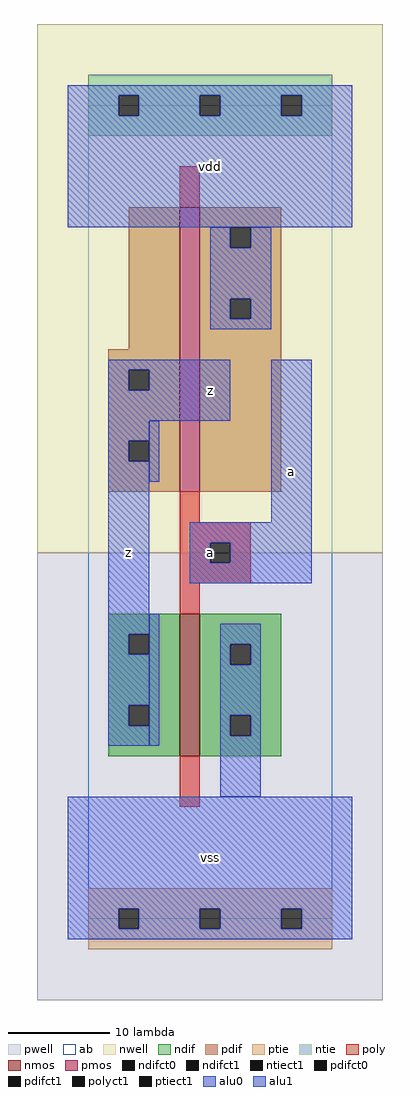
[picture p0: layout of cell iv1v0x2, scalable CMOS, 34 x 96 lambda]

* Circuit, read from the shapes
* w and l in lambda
.subckt iv1v0x2 a vdd vss z
M1 vss a z vss nfet w=14 l=2
M2 vdd a z vdd pfet w=28 l=2
.ends

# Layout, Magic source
magic
tech scmos
<< ab >>
rect 0 0 24 80
<< nwell >>
rect -5 36 29 88
<< pwell >>
rect -5 -8 29 36
<< poly >>
rect 9 70 11 74
rect 9 39 11 42
rect 9 37 16 39
rect 9 35 12 37
rect 14 35 16 37
rect 9 33 16 35
rect 9 30 11 33
rect 9 11 11 16
<< ndif >>
rect 2 28 9 30
rect 2 26 4 28
rect 6 26 9 28
rect 2 21 9 26
rect 2 19 4 21
rect 6 19 9 21
rect 2 16 9 19
rect 11 27 19 30
rect 11 25 14 27
rect 16 25 19 27
rect 11 20 19 25
rect 11 18 14 20
rect 16 18 19 20
rect 11 16 19 18
<< pdif >>
rect 4 56 9 70
rect 2 54 9 56
rect 2 52 4 54
rect 6 52 9 54
rect 2 47 9 52
rect 2 45 4 47
rect 6 45 9 47
rect 2 42 9 45
rect 11 68 19 70
rect 11 66 14 68
rect 16 66 19 68
rect 11 61 19 66
rect 11 59 14 61
rect 16 59 19 61
rect 11 42 19 59
<< alu1 >>
rect -2 81 26 82
rect -2 79 3 81
rect 5 79 11 81
rect 13 79 19 81
rect 21 79 26 81
rect -2 68 26 79
rect 2 54 14 55
rect 2 52 4 54
rect 6 52 14 54
rect 2 49 14 52
rect 2 47 6 49
rect 2 45 4 47
rect 2 28 6 45
rect 18 39 22 55
rect 10 37 22 39
rect 10 35 12 37
rect 14 35 22 37
rect 10 33 22 35
rect 2 26 4 28
rect 2 21 6 26
rect 2 19 4 21
rect 2 17 6 19
rect -2 1 26 12
rect -2 -1 3 1
rect 5 -1 11 1
rect 13 -1 19 1
rect 21 -1 26 1
rect -2 -2 26 -1
<< ptie >>
rect 0 1 24 3
rect 0 -1 3 1
rect 5 -1 11 1
rect 13 -1 19 1
rect 21 -1 24 1
rect 0 -3 24 -1
<< ntie >>
rect 0 81 24 83
rect 0 79 3 81
rect 5 79 11 81
rect 13 79 19 81
rect 21 79 24 81
rect 0 77 24 79
<< nmos >>
rect 9 16 11 30
<< pmos >>
rect 9 42 11 70
<< polyct1 >>
rect 12 35 14 37
<< ndifct0 >>
rect 14 25 16 27
rect 14 18 16 20
<< ndifct1 >>
rect 4 26 6 28
rect 4 19 6 21
<< ntiect1 >>
rect 3 79 5 81
rect 11 79 13 81
rect 19 79 21 81
<< ptiect1 >>
rect 3 -1 5 1
rect 11 -1 13 1
rect 19 -1 21 1
<< pdifct0 >>
rect 14 66 16 68
rect 14 59 16 61
<< pdifct1 >>
rect 4 52 6 54
rect 4 45 6 47
<< alu0 >>
rect 12 66 14 68
rect 16 66 18 68
rect 12 61 18 66
rect 12 59 14 61
rect 16 59 18 61
rect 12 58 18 59
rect 6 43 7 49
rect 6 17 7 30
rect 13 27 17 29
rect 13 25 14 27
rect 16 25 17 27
rect 13 20 17 25
rect 13 18 14 20
rect 16 18 17 20
rect 13 12 17 18
<< labels >>
rlabel alu1 4 36 4 36 6 z
rlabel alu1 12 6 12 6 6 vss
rlabel alu1 12 36 12 36 6 a
rlabel alu1 12 52 12 52 6 z
rlabel alu1 12 74 12 74 6 vdd
rlabel alu1 20 44 20 44 6 a
<< end >>
